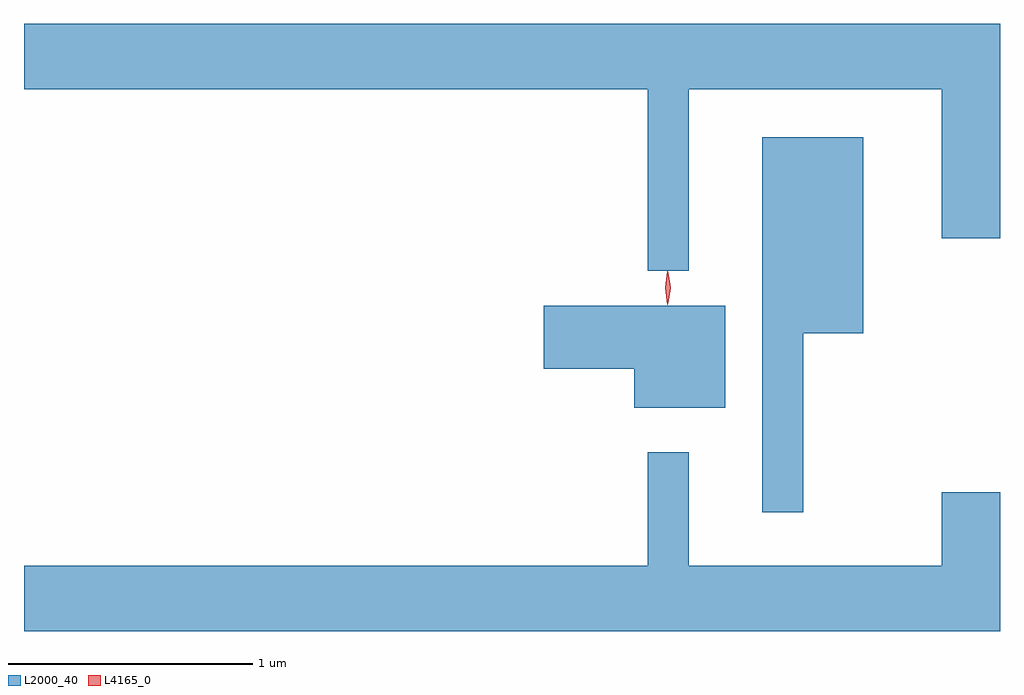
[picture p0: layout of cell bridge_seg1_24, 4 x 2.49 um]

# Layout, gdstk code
import gdstk
lib = gdstk.Library(unit=1e-6, precision=1e-09)
def P(c, l, *ps):  # polygons
    for p in ps: c.add(gdstk.Polygon(p, *l))
L2000_40 = (2000, 40)
L4165_0 = (4165, 0)

bridge_seg1_24 = lib.new_cell('bridge_seg1_24')
P(bridge_seg1_24, L2000_40, [(1612.639,844.076),(1613.676,844.076),(1613.676,843.466),(1613.915,843.466),(1613.915,844.344),(1609.915,844.344),(1609.915,844.076),(1612.471,844.076),(1612.471,843.333),(1612.639,843.333)],
  [(1613.109,843.076),(1613.354,843.076),(1613.354,843.879),(1612.941,843.879),(1612.941,842.343),(1613.109,842.343)],
  [(1612.789,843.189),(1612.046,843.189),(1612.046,842.931),(1612.416,842.931),(1612.416,842.771),(1612.789,842.771)],
  [(1613.915,842.424),(1613.676,842.424),(1613.676,842.124),(1612.639,842.124),(1612.639,842.588),(1612.471,842.588),(1612.471,842.124),(1609.915,842.124),(1609.915,841.856),(1613.915,841.856)])
P(bridge_seg1_24, L4165_0, [(1612.554,843.2),(1612.545,843.263),(1612.554,843.326),(1612.555,843.327),(1612.555,843.326),(1612.565,843.263),(1612.555,843.2),(1612.555,843.2)],
  [(1612.552,843.194),(1612.543,843.262),(1612.552,843.33),(1612.553,843.33),(1612.553,843.33),(1612.563,843.262),(1612.553,843.194),(1612.553,843.194)])

lib.write_gds('bridge_seg1_24.gds')
